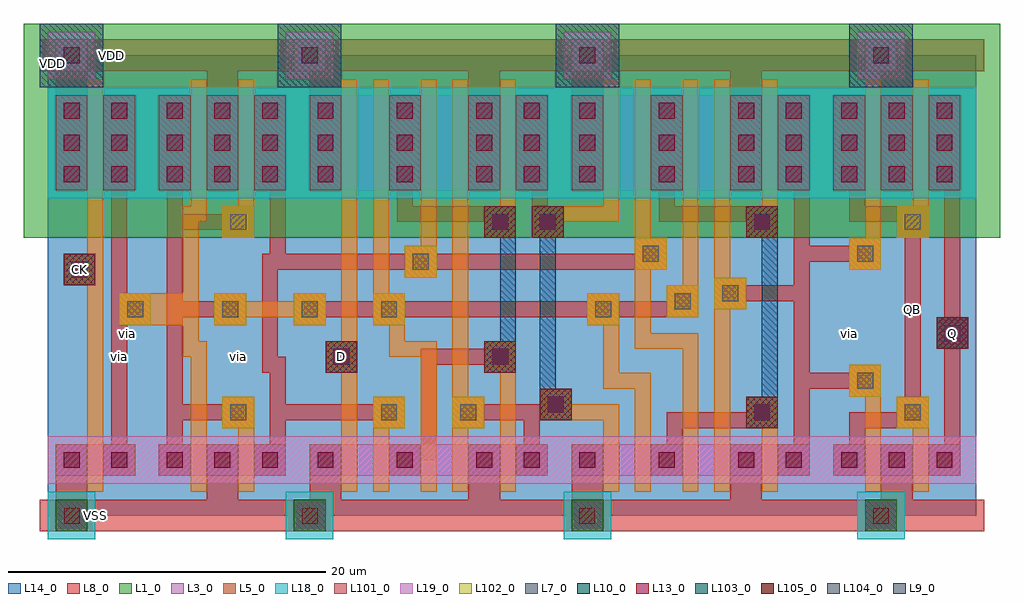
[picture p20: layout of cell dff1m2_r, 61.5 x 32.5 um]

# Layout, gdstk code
import gdstk
lib = gdstk.Library(unit=1e-6, precision=1e-09)
def R(c, l, rs):  # rectangles x0, y0, x1, y1
    for r in rs: c.add(gdstk.rectangle(r[:2], r[2:], *l))
L1_0 = (1, 0)
L3_0 = (3, 0)
L5_0 = (5, 0)
L7_0 = (7, 0)
L8_0 = (8, 0)
L9_0 = (9, 0)
L10_0 = (10, 0)
L13_0 = (13, 0)
L14_0 = (14, 0)
L18_0 = (18, 0)
L19_0 = (19, 0)
L101_0 = (101, 0)
L102_0 = (102, 0)
L103_0 = (103, 0)
L104_0 = (104, 0)
L105_0 = (105, 0)

pcont = lib.new_cell('pcont')
R(pcont, L5_0, [(-1,-1,1,1)])
R(pcont, L7_0, [(-0.5,-0.5,0.5,0.5)])
R(pcont, L8_0, [(-1,-1,1,1)])
R(pcont, L102_0, [(-1,-1,1,1)])
pcont.add(gdstk.Label('pcont', (0,0), layer=13, texttype=0))

via = lib.new_cell('Via')
R(via, L8_0, [(-1,-1,1,1)])
R(via, L9_0, [(-0.5,-0.5,0.5,0.5)])
R(via, L10_0, [(-1,-1,1,1)])
R(via, L13_0, [(-0.5,-0.5,0.5,0.5)])
R(via, L105_0, [(-1,-1,1,1)])
via.add(gdstk.Label('via', (0,0), layer=13, texttype=0))

dcont = lib.new_cell('dcont')
R(dcont, L3_0, [(-1,-1,1,1)])
R(dcont, L7_0, [(-0.5,-0.5,0.5,0.5)])
R(dcont, L8_0, [(-1,-1,1,1)])
R(dcont, L13_0, [(-0.5,-0.5,0.5,0.5)])
R(dcont, L101_0, [(-1,-1,1,1)])
dcont.add(gdstk.Label('dcont', (0,0), layer=13, texttype=0))

nsubcont = lib.new_cell('nsubcont')
R(nsubcont, L1_0, [(-2,-2,2,2)])
R(nsubcont, L19_0, [(-1.5,-1.5,1.5,1.5)])
R(nsubcont, L103_0, [(-2,-2,2,2)])
nsubcont.add(gdstk.Reference(dcont, (0,0)))
nsubcont.add(gdstk.Label('NScont', (0,0), layer=13, texttype=0))

psubcont = lib.new_cell('psubcont')
R(psubcont, L18_0, [(-1.5,-1.5,1.5,1.5)])
R(psubcont, L104_0, [(-1,-1,1,1)])
psubcont.add(gdstk.Reference(dcont, (0,0)))
psubcont.add(gdstk.Label('PScon', (0,0), layer=13, texttype=0))

dff1m2_r = lib.new_cell('dff1m2_r')
R(dff1m2_r, L1_0, [(-1.5,17.5,8,31), (5,17.5,60,31)])
R(dff1m2_r, L3_0, [(0.5,2.5,5.5,4.5), (7,2.5,15,4.5), (16.5,2.5,31.5,4.5), (33,2.5,48,4.5), (49.5,2.5,57.5,4.5), (0.5,20.5,5.5,26.5), (7,20.5,15,26.5), (16.5,20.5,31.5,26.5), (33,20.5,48,26.5), (49.5,20.5,57.5,26.5)])
R(dff1m2_r, L5_0, [(6.5,12,8.5,14)])
R(dff1m2_r, L8_0, [(-0.5,-1,59,1), (-0.5,-1,7,1), (6,-1,59,1), (17.5,9,19.5,11), (17.5,9,19.5,11), (56,10.5,58,12.5), (56,10.5,58,12.5), (1,14.5,3,16.5), (1,14.5,3,16.5), (-0.5,28,59,30), (-0.5,28,7,30), (6,28,59,30)])
R(dff1m2_r, L10_0, [(17.5,9,19.5,11), (17.5,9,19.5,11), (56,10.5,58,12.5), (56,10.5,58,12.5), (1,14.5,3,16.5), (1,14.5,3,16.5)])
R(dff1m2_r, L14_0, [(0,0,58.5,29)])
R(dff1m2_r, L18_0, [(0,20,6.5,27), (6.5,20,58.5,27)])
R(dff1m2_r, L19_0, [(0,2,6.5,5), (6.5,2,58.5,5)])
R(dff1m2_r, L105_0, [(17.5,9,19.5,11), (56,10.5,58,12.5), (1,14.5,3,16.5)])
dff1m2_r.add(gdstk.FlexPath([(9.5,27),(9.5,19),(9,19),(9,10.5),(9.5,10.5),(9.5,2)], 1, ends="extended", simple_path=True, layer=5, datatype=0))  # L5_0
dff1m2_r.add(gdstk.FlexPath([(12.5,2),(12.5,7)], 1, ends="extended", simple_path=True, layer=5, datatype=0))  # L5_0
dff1m2_r.add(gdstk.FlexPath([(12.5,18.3),(12.5,27)], 1, ends="extended", simple_path=True, layer=5, datatype=0))  # L5_0
dff1m2_r.add(gdstk.FlexPath([(16.8,13),(11.5,13)], 1, ends="extended", simple_path=True, layer=5, datatype=0))  # L5_0
dff1m2_r.add(gdstk.FlexPath([(19,27),(19,2)], 1, ends="extended", simple_path=True, layer=5, datatype=0))  # L5_0
dff1m2_r.add(gdstk.FlexPath([(21,2),(21,6.8)], 1, ends="extended", simple_path=True, layer=5, datatype=0))  # L5_0
dff1m2_r.add(gdstk.FlexPath([(24,2),(24,10.5),(22,10.5),(22,13.1),(21,13.1),(21,27)], 1, ends="extended", simple_path=True, layer=5, datatype=0))  # L5_0
dff1m2_r.add(gdstk.FlexPath([(24,15.8),(24,27)], 1, ends="extended", simple_path=True, layer=5, datatype=0))  # L5_0
dff1m2_r.add(gdstk.FlexPath([(26,27),(26,2)], 1, ends="extended", simple_path=True, layer=5, datatype=0))  # L5_0
dff1m2_r.add(gdstk.FlexPath([(29,2),(29,10)], 1, ends="extended", simple_path=True, layer=5, datatype=0))  # L5_0
dff1m2_r.add(gdstk.FlexPath([(29,18.4),(29,27)], 1, ends="extended", simple_path=True, layer=5, datatype=0))  # L5_0
dff1m2_r.add(gdstk.FlexPath([(31.5,19),(35.5,19),(35.5,27)], 1, ends="extended", simple_path=True, layer=5, datatype=0))  # L5_0
dff1m2_r.add(gdstk.FlexPath([(35.5,2),(35.5,6.5),(31.8,6.5)], 1, ends="extended", simple_path=True, layer=5, datatype=0))  # L5_0
dff1m2_r.add(gdstk.FlexPath([(37.5,2),(37.5,8.5),(35.5,8.5),(35.5,13)], 1, ends="extended", simple_path=True, layer=5, datatype=0))  # L5_0
dff1m2_r.add(gdstk.FlexPath([(40.5,2),(40.5,11),(37.5,11),(37.5,27)], 1, ends="extended", simple_path=True, layer=5, datatype=0))  # L5_0
dff1m2_r.add(gdstk.FlexPath([(40.5,27),(40.5,13.7)], 1, ends="extended", simple_path=True, layer=5, datatype=0))  # L5_0
dff1m2_r.add(gdstk.FlexPath([(42.5,2),(42.5,27)], 1, ends="extended", simple_path=True, layer=5, datatype=0))  # L5_0
dff1m2_r.add(gdstk.FlexPath([(45.5,27),(45.5,18.4)], 1, ends="extended", simple_path=True, layer=5, datatype=0))  # L5_0
dff1m2_r.add(gdstk.FlexPath([(45.5,6.8),(45.5,2)], 1, ends="extended", simple_path=True, layer=5, datatype=0))  # L5_0
dff1m2_r.add(gdstk.FlexPath([(52,2),(52,8.9)], 1, ends="extended", simple_path=True, layer=5, datatype=0))  # L5_0
dff1m2_r.add(gdstk.FlexPath([(52,16.5),(52,27)], 1, ends="extended", simple_path=True, layer=5, datatype=0))  # L5_0
dff1m2_r.add(gdstk.FlexPath([(55,2),(55,6.7)], 1, ends="extended", simple_path=True, layer=5, datatype=0))  # L5_0
dff1m2_r.add(gdstk.FlexPath([(55,18.1),(55,27)], 1, ends="extended", simple_path=True, layer=5, datatype=0))  # L5_0
dff1m2_r.add(gdstk.FlexPath([(3,27),(3,2)], 1, ends="extended", simple_path=True, layer=5, datatype=0))  # L5_0
dff1m2_r.add(gdstk.FlexPath([(57,3.3),(57,26)], 1, ends="extended", simple_path=True, layer=8, datatype=0))  # L8_0
dff1m2_r.add(gdstk.FlexPath([(56.5,22.3),(56.5,25.5)], 1.4, ends="extended", simple_path=True, layer=8, datatype=0))  # L8_0
dff1m2_r.add(gdstk.FlexPath([(53.5,22.6),(53.5,28.5)], 2, ends="extended", simple_path=True, layer=8, datatype=0))  # L8_0
dff1m2_r.add(gdstk.FlexPath([(53.5,1),(53.5,3.4)], 2, ends="extended", simple_path=True, layer=8, datatype=0))  # L8_0
dff1m2_r.add(gdstk.FlexPath([(51,26),(51,19),(54.5,19),(54.5,6),(51,6),(51,3.6)], 1, ends="extended", simple_path=True, layer=8, datatype=0))  # L8_0
dff1m2_r.add(gdstk.FlexPath([(50.5,22.3),(50.5,25.5)], 1.4, ends="extended", simple_path=True, layer=8, datatype=0))  # L8_0
dff1m2_r.add(gdstk.FlexPath([(51.8,8.5),(47.5,8.5)], 1, ends="extended", simple_path=True, layer=8, datatype=0))  # L8_0
dff1m2_r.add(gdstk.FlexPath([(51.8,16.5),(47.5,16.5)], 1, ends="extended", simple_path=True, layer=8, datatype=0))  # L8_0
dff1m2_r.add(gdstk.FlexPath([(47.5,21.5),(47.5,3.8)], 1, ends="extended", simple_path=True, layer=8, datatype=0))  # L8_0
dff1m2_r.add(gdstk.FlexPath([(43.3,14),(47.5,14)], 1, ends="extended", simple_path=True, layer=8, datatype=0))  # L8_0
dff1m2_r.add(gdstk.FlexPath([(44,1),(44,3.5)], 2, ends="extended", simple_path=True, layer=8, datatype=0))  # L8_0
dff1m2_r.add(gdstk.FlexPath([(44,22.6),(44,28.5)], 2, ends="extended", simple_path=True, layer=8, datatype=0))  # L8_0
dff1m2_r.add(gdstk.FlexPath([(39.5,3.8),(39.5,6),(45,6)], 1, ends="extended", simple_path=True, layer=8, datatype=0))  # L8_0
dff1m2_r.add(gdstk.FlexPath([(39,22.3),(39,19),(45.2,19)], 1, ends="extended", simple_path=True, layer=8, datatype=0))  # L8_0
dff1m2_r.add(gdstk.FlexPath([(39,22.3),(39,25.5)], 1.4, ends="extended", simple_path=True, layer=8, datatype=0))  # L8_0
dff1m2_r.add(gdstk.FlexPath([(34,1),(34,3.5)], 2, ends="extended", simple_path=True, layer=8, datatype=0))  # L8_0
dff1m2_r.add(gdstk.FlexPath([(34,22),(34,28.5)], 2, ends="extended", simple_path=True, layer=8, datatype=0))  # L8_0
dff1m2_r.add(gdstk.FlexPath([(30.5,21.5),(31,21.5),(31,18.4)], 1, ends="extended", simple_path=True, layer=8, datatype=0))  # L8_0
dff1m2_r.add(gdstk.FlexPath([(30.5,22.3),(30.5,25.5)], 1.4, ends="extended", simple_path=True, layer=8, datatype=0))  # L8_0
dff1m2_r.add(gdstk.FlexPath([(40.5,13),(16.8,13)], 1, ends="extended", simple_path=True, layer=8, datatype=0))  # L8_0
dff1m2_r.add(gdstk.FlexPath([(26.4,6.5),(30.5,6.5),(30.5,3.5)], 1, ends="extended", simple_path=True, layer=8, datatype=0))  # L8_0
dff1m2_r.add(gdstk.FlexPath([(27.5,1),(27.5,3.5)], 2, ends="extended", simple_path=True, layer=8, datatype=0))  # L8_0
dff1m2_r.add(gdstk.FlexPath([(27.5,22.6),(27.5,28.5)], 2, ends="extended", simple_path=True, layer=8, datatype=0))  # L8_0
dff1m2_r.add(gdstk.FlexPath([(14.55,16),(38.3,16)], 1, ends="extended", simple_path=True, layer=8, datatype=0))  # L8_0
dff1m2_r.add(gdstk.FlexPath([(22.5,3.5),(22.5,4),(24,4),(24,10),(28.9,10)], 1, ends="extended", simple_path=True, layer=8, datatype=0))  # L8_0
dff1m2_r.add(gdstk.FlexPath([(22.5,22.3),(22.5,19),(28.5,19)], 1, ends="extended", simple_path=True, layer=8, datatype=0))  # L8_0
dff1m2_r.add(gdstk.FlexPath([(22.5,22.3),(22.5,25.5)], 1.4, ends="extended", simple_path=True, layer=8, datatype=0))  # L8_0
dff1m2_r.add(gdstk.FlexPath([(21.3,6.5),(14.5,6.5)], 1, ends="extended", simple_path=True, layer=8, datatype=0))  # L8_0
dff1m2_r.add(gdstk.FlexPath([(17.5,22.6),(17.5,28.5)], 2, ends="extended", simple_path=True, layer=8, datatype=0))  # L8_0
dff1m2_r.add(gdstk.FlexPath([(17.5,1),(17.5,3.5)], 2, ends="extended", simple_path=True, layer=8, datatype=0))  # L8_0
dff1m2_r.add(gdstk.FlexPath([(14.5,3.6),(14.5,9.5),(14,9.5),(14,16),(14.5,16),(14.5,26)], 1, ends="extended", simple_path=True, layer=8, datatype=0))  # L8_0
dff1m2_r.add(gdstk.FlexPath([(11,1),(11,3.5)], 2, ends="extended", simple_path=True, layer=8, datatype=0))  # L8_0
dff1m2_r.add(gdstk.FlexPath([(11,22.6),(11,28.5)], 2, ends="extended", simple_path=True, layer=8, datatype=0))  # L8_0
dff1m2_r.add(gdstk.FlexPath([(12.4,6.5),(8.3,6.5)], 1, ends="extended", simple_path=True, layer=8, datatype=0))  # L8_0
dff1m2_r.add(gdstk.FlexPath([(12.1,18.5),(8,18.5)], 1, ends="extended", simple_path=True, layer=8, datatype=0))  # L8_0
dff1m2_r.add(gdstk.FlexPath([(11.5,13),(8.3,13)], 1, ends="extended", simple_path=True, layer=8, datatype=0))  # L8_0
dff1m2_r.add(gdstk.FlexPath([(8,22.3),(8,25.5)], 1.4, ends="extended", simple_path=True, layer=8, datatype=0))  # L8_0
dff1m2_r.add(gdstk.FlexPath([(8,26),(8,3.6)], 1, ends="extended", simple_path=True, layer=8, datatype=0))  # L8_0
dff1m2_r.add(gdstk.FlexPath([(1.5,21.5),(1.5,28.5)], 2, ends="extended", simple_path=True, layer=8, datatype=0))  # L8_0
dff1m2_r.add(gdstk.FlexPath([(1.5,1),(1.5,3.5)], 2, ends="extended", simple_path=True, layer=8, datatype=0))  # L8_0
dff1m2_r.add(gdstk.FlexPath([(4.5,22.3),(4.5,25.5)], 1.4, ends="extended", simple_path=True, layer=8, datatype=0))  # L8_0
dff1m2_r.add(gdstk.FlexPath([(4.5,20.5),(4.5,3.8)], 1, ends="extended", simple_path=True, layer=8, datatype=0))  # L8_0
dff1m2_r.add(gdstk.FlexPath([(29,18.7),(29,10)], 1, ends="extended", simple_path=True, layer=10, datatype=0))  # L10_0
dff1m2_r.add(gdstk.FlexPath([(31.5,18.7),(31.5,6.8)], 1, ends="extended", simple_path=True, layer=10, datatype=0))  # L10_0
dff1m2_r.add(gdstk.FlexPath([(45.5,18.7),(45.5,6.5)], 1, ends="extended", simple_path=True, layer=10, datatype=0))  # L10_0
dff1m2_r.add(gdstk.Reference(pcont, (2,15.5)))
dff1m2_r.add(gdstk.Reference(via, (2,15.5)))
dff1m2_r.add(gdstk.Reference(via, (28.5,18.5)))
dff1m2_r.add(gdstk.Reference(pcont, (28.5,18.5)))
dff1m2_r.add(gdstk.Reference(via, (28.5,10)))
dff1m2_r.add(gdstk.Reference(pcont, (43,14)))
dff1m2_r.add(gdstk.Reference(pcont, (28.5,10)))
dff1m2_r.add(gdstk.Reference(pcont, (51.5,16.5)))
dff1m2_r.add(gdstk.Reference(dcont, (50.5,21.5)))
dff1m2_r.add(gdstk.Reference(dcont, (53.5,23.5)))
dff1m2_r.add(gdstk.Reference(dcont, (56.5,23.5)))
dff1m2_r.add(gdstk.Reference(dcont, (44,23.5)))
dff1m2_r.add(gdstk.Reference(dcont, (56.5,21.5)))
dff1m2_r.add(gdstk.Reference(dcont, (39,25.5)))
dff1m2_r.add(gdstk.Reference(dcont, (47,25.5)))
dff1m2_r.add(gdstk.Reference(pcont, (38,16.5)))
dff1m2_r.add(gdstk.Reference(dcont, (47,21.5)))
dff1m2_r.add(gdstk.Reference(dcont, (50.5,23.5)))
dff1m2_r.add(gdstk.Reference(dcont, (47,23.5)))
dff1m2_r.add(gdstk.Reference(dcont, (56.5,25.5)))
dff1m2_r.add(gdstk.Reference(dcont, (34,25.5)))
dff1m2_r.add(gdstk.Reference(dcont, (53.5,25.5)))
dff1m2_r.add(gdstk.Reference(nsubcont, (52.5,29)))
dff1m2_r.add(gdstk.Reference(dcont, (30.5,23.5)))
dff1m2_r.add(gdstk.Reference(nsubcont, (34,29)))
dff1m2_r.add(gdstk.Reference(dcont, (39,23.5)))
dff1m2_r.add(gdstk.Reference(dcont, (53.5,21.5)))
dff1m2_r.add(gdstk.Reference(dcont, (44,25.5)))
dff1m2_r.add(gdstk.Reference(pcont, (54.5,18.5)))
dff1m2_r.add(gdstk.Reference(pcont, (45,18.5)))
dff1m2_r.add(gdstk.Reference(via, (31.5,18.5)))
dff1m2_r.add(gdstk.Reference(dcont, (30.5,25.5)))
dff1m2_r.add(gdstk.Reference(dcont, (30.5,21.5)))
dff1m2_r.add(gdstk.Reference(dcont, (39,21.5)))
dff1m2_r.add(gdstk.Reference(via, (45,18.5)))
dff1m2_r.add(gdstk.Reference(dcont, (44,21.5)))
dff1m2_r.add(gdstk.Reference(pcont, (31.5,18.5)))
dff1m2_r.add(gdstk.Reference(dcont, (50.5,25.5)))
dff1m2_r.add(gdstk.Reference(dcont, (34,23.5)))
dff1m2_r.add(gdstk.Reference(dcont, (34,21.5)))
dff1m2_r.add(gdstk.Reference(dcont, (14,23.5)))
dff1m2_r.add(gdstk.Reference(dcont, (27.5,21.5)))
dff1m2_r.add(gdstk.Reference(dcont, (11,23.5)))
dff1m2_r.add(gdstk.Reference(pcont, (12,18.5)))
dff1m2_r.add(gdstk.Reference(nsubcont, (1.5,29)))
dff1m2_r.add(gdstk.Reference(dcont, (27.5,25.5)))
dff1m2_r.add(gdstk.Reference(dcont, (27.5,23.5)))
dff1m2_r.add(gdstk.Reference(dcont, (11,21.5)))
dff1m2_r.add(gdstk.Reference(dcont, (8,23.5)))
dff1m2_r.add(gdstk.Reference(dcont, (4.5,21.5)))
dff1m2_r.add(gdstk.Reference(dcont, (11,25.5)))
dff1m2_r.add(gdstk.Reference(dcont, (22.5,25.5)))
dff1m2_r.add(gdstk.Reference(dcont, (17.5,25.5)))
dff1m2_r.add(gdstk.Reference(dcont, (1.5,23.5)))
dff1m2_r.add(gdstk.Reference(dcont, (17.5,21.5)))
dff1m2_r.add(gdstk.Reference(dcont, (22.5,21.5)))
dff1m2_r.add(gdstk.Reference(pcont, (23.5,16)))
dff1m2_r.add(gdstk.Reference(nsubcont, (16.5,29)))
dff1m2_r.add(gdstk.Reference(dcont, (14,25.5)))
dff1m2_r.add(gdstk.Reference(dcont, (4.5,25.5)))
dff1m2_r.add(gdstk.Reference(dcont, (8,21.5)))
dff1m2_r.add(gdstk.Reference(dcont, (1.5,25.5)))
dff1m2_r.add(gdstk.Reference(dcont, (14,21.5)))
dff1m2_r.add(gdstk.Reference(dcont, (4.5,23.5)))
dff1m2_r.add(gdstk.Reference(dcont, (17.5,23.5)))
dff1m2_r.add(gdstk.Reference(dcont, (22.5,23.5)))
dff1m2_r.add(gdstk.Reference(dcont, (1.5,21.5)))
dff1m2_r.add(gdstk.Reference(dcont, (8,25.5)))
dff1m2_r.add(gdstk.Reference(psubcont, (1.5,0)))
dff1m2_r.add(gdstk.Reference(pcont, (18.5,10)))
dff1m2_r.add(gdstk.Reference(dcont, (22.5,3.5)))
dff1m2_r.add(gdstk.Reference(pcont, (21.5,13)))
dff1m2_r.add(gdstk.Reference(dcont, (17.5,3.5)))
dff1m2_r.add(gdstk.Reference(pcont, (12,6.5)))
dff1m2_r.add(gdstk.Reference(dcont, (14,3.5)))
dff1m2_r.add(gdstk.Reference(pcont, (11.5,13)))
dff1m2_r.add(gdstk.Reference(pcont, (21.5,6.5)))
dff1m2_r.add(gdstk.Reference(dcont, (1.5,3.5)))
dff1m2_r.add(gdstk.Reference(dcont, (8,3.5)))
dff1m2_r.add(gdstk.Reference(dcont, (27.5,3.5)))
dff1m2_r.add(gdstk.Reference(pcont, (16.5,13)))
dff1m2_r.add(gdstk.Reference(dcont, (4.5,3.5)))
dff1m2_r.add(gdstk.Reference(psubcont, (16.5,0)))
dff1m2_r.add(gdstk.Reference(dcont, (11,3.5)))
dff1m2_r.add(gdstk.Reference(via, (18.5,10)))
dff1m2_r.add(gdstk.Reference(pcont, (26.5,6.5)))
dff1m2_r.add(gdstk.Reference(pcont, (5.5,13)))
dff1m2_r.add(gdstk.Reference(via, (57,11.5)))
dff1m2_r.add(gdstk.Reference(pcont, (54.5,6.5)))
dff1m2_r.add(gdstk.Reference(via, (32,7)))
dff1m2_r.add(gdstk.Reference(dcont, (50.5,3.5)))
dff1m2_r.add(gdstk.Reference(dcont, (47,3.5)))
dff1m2_r.add(gdstk.Reference(psubcont, (52.5,0)))
dff1m2_r.add(gdstk.Reference(pcont, (51.5,8.5)))
dff1m2_r.add(gdstk.Reference(dcont, (34,3.5)))
dff1m2_r.add(gdstk.Reference(via, (45,6.5)))
dff1m2_r.add(gdstk.Reference(dcont, (44,3.5)))
dff1m2_r.add(gdstk.Reference(dcont, (53.5,3.5)))
dff1m2_r.add(gdstk.Reference(pcont, (45,6.5)))
dff1m2_r.add(gdstk.Reference(psubcont, (34,0)))
dff1m2_r.add(gdstk.Reference(dcont, (30.5,3.5)))
dff1m2_r.add(gdstk.Reference(dcont, (56.5,3.5)))
dff1m2_r.add(gdstk.Reference(pcont, (40,13.5)))
dff1m2_r.add(gdstk.Reference(pcont, (32,7)))
dff1m2_r.add(gdstk.Reference(pcont, (35,13)))
dff1m2_r.add(gdstk.Reference(dcont, (39,3.5)))
dff1m2_r.add(gdstk.Label('QB', (54.5,13), layer=8, texttype=0))
dff1m2_r.add(gdstk.Label('VDD', (4,29), layer=8, texttype=0))
dff1m2_r.add(gdstk.Label('VDD', (0.3,28.5), layer=8, texttype=0))
dff1m2_r.add(gdstk.Label('VSS', (3,0), layer=8, texttype=0))
dff1m2_r.add(gdstk.Label('CK', (2,15.5), layer=10, texttype=0))
dff1m2_r.add(gdstk.Label('D', (18.5,10), layer=10, texttype=0))
dff1m2_r.add(gdstk.Label('Q', (57,11.5), layer=10, texttype=0))
dff1m2_r.add(gdstk.Label('via', (4.5,10), layer=13, texttype=0))
dff1m2_r.add(gdstk.Label('via', (12,10), layer=13, texttype=0))
dff1m2_r.add(gdstk.Label('via', (50.5,11.5), layer=13, texttype=0))
dff1m2_r.add(gdstk.Label('via', (2,15.5), layer=13, texttype=0))
dff1m2_r.add(gdstk.Label('via', (5,11.5), layer=13, texttype=0))

lib.write_gds('dff1m2_r.gds')
